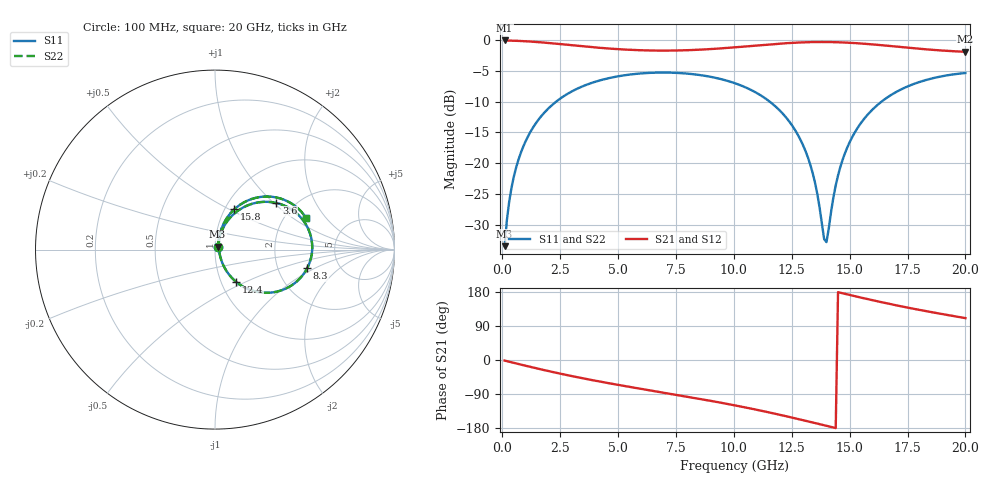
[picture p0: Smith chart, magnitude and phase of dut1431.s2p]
! Touchstone file exported from HFSS 2026.1.0
!  File:  C:/ffzhzh/LocalFiles/Ansys_Project_Files/temp_train_TSV_RDL_1431_1783356027_4416.aedt
!  Generated:  12:48:47 AM Jul  7, 2026
!  Design:  TSV_RDL
!  Project:  temp_train_TSV_RDL_1431_1783356027_4416
! Variables:
!  h_bsmrdl = 5.23um
!  h_ox = 20um
!  h_rdl = 5um
!  h_sub = 64.3um
!  h_tmrdl = 5.68um
!  h_tsv = 64.3um
!  h_via = 3um
!  l_bsmrdl = 217.58um
!  l_sub = 4306.86um
!  l_tmrdl = 782.81um
!  m_sub = 200um
!  pitch = 50.57um
!  r_tsv = 11.5um
!  s_tmrdl = 10um
!  w_bsmrdl = 23.61um
!  w_sub = 500um
!  w_tmrdl = 17.35um
!  x_tsv_center1 = 791.485um
!  x_tsv_center2 = 1032.675um
!  x_tsv_center3 = 1832.835um
!  x_tsv_center4 = 2074.025um
!  x_tsv_center5 = 2874.185um
!  x_tsv_center6 = 3115.375um
# GHz S MA R 50.000000
! Terminal data exported
! Port[1] = TM_RDL1_1_T1
! Port[2] = TM_RDL5_1_T1
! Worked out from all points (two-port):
!   200 points, 100 MHz to 20 GHz, reference 50 ohm
!   highest |S21| = -0.12 dB at 100 MHz (marker M1); lowest = -2.0 dB at 20 GHz (marker M2)
!   |S21| within 3 dB of the highest: start of sweep to end of sweep
!   lowest |S11| = -33.4 dB at 100 MHz (marker M3), VSWR 1.04, Z = 51.4 + j1.61 ohm
!   |S11| at or under -10 dB: start of sweep to 2.333 GHz; 11.54 GHz to 16.38 GHz (4.842 GHz wide, 34.7 % of centre)
!   |S22| runs from -33.4 to -5.3 dB; largest |S21 - S12| = 1.7e-14
!   S11 on the Smith chart (normalised r, x): 100 MHz: 1.03, +0.03; 3.6 GHz: 1.63, +1.04; 8.3 GHz: 2.94, -0.83; 12.4 GHz: 1.18, -0.45; 15.8 GHz: 1.11, +0.53; 20 GHz: 2.61, +1.28
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0.1  0.02138 47.2  0.9858 -1.6  0.9858 -1.6  0.02138 47.2
! Gamma 0 0 0 0
! Port Impedance 50 0 50 0
0.3  0.04933 67.2  0.9836 -4.6  0.9836 -4.6  0.04933 67.2
0.5  0.07833 70.4  0.9809 -7.6  0.9809 -7.6  0.07833 70.4
1.1  0.1638 67.2  0.9689 -16.5  0.9689 -16.5  0.1638 67.2
2.1  0.2905 55.3  0.9366 -30.7  0.9366 -30.7  0.2905 55.3
3.5  0.422 38.4  0.8833 -48.6  0.8833 -48.6  0.422 38.4
3.6  0.4293 37.2  0.8797 -49.8  0.8797 -49.8  0.4293 37.2
6.8  0.5419 3.7  0.816 -84.5  0.816 -84.5  0.5419 3.7
8.3  0.5243 -11.3  0.8263 -100.2  0.8263 -100.2  0.5243 -11.3
10.1  0.441 -30.4  0.8692 -120.4  0.8692 -120.4  0.441 -30.4
11.4  0.3311 -45.3  0.9112 -136.7  0.9112 -136.7  0.3311 -45.3
12.4  0.217 -56.6  0.9399 -150.4  0.9399 -150.4  0.217 -56.6
13  0.1386 -61.6  0.9517 -159.0  0.9517 -159.0  0.1386 -61.7
13.4  0.08404 -61.1  0.9563 -164.8  0.9563 -164.8  0.08404 -61.2
13.9  0.02439 -16.5  0.9578 -172.2  0.9578 -172.2  0.02424 -16.8
14  0.02305 17.3  0.9575 -173.7  0.9575 -173.7  0.02287 17.3
14.4  0.06636 69.2  0.9544 -179.6  0.9544 -179.6  0.06625 69.3
14.7  0.1072 72.6  0.9501 176.0  0.9501 176.0  0.1071 72.7
15.8  0.2502 64.3  0.9222 160.4  0.9222 160.4  0.2501 64.3
16.7  0.3484 54.0  0.8908 148.3  0.8908 148.3  0.3483 54.1
18.2  0.4662 37.3  0.8387 130.1  0.8387 130.1  0.4662 37.3
20  0.5375 18.9  0.7985 110.5  0.7985 110.5  0.5375 18.9
